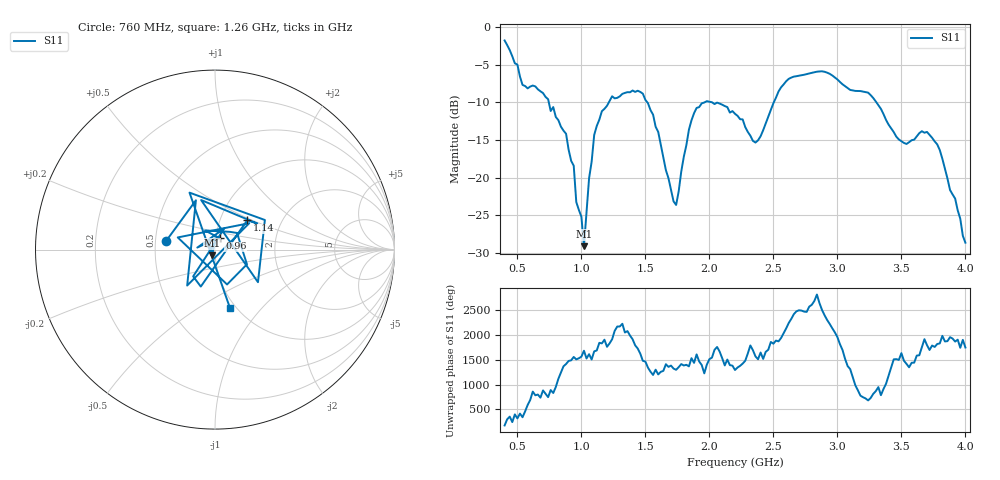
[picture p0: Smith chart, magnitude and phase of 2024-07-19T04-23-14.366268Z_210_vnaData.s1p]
!Created with skrf (http://scikit-rf.org).
# Hz S RI R 50.0
!freq ReS11 ImS11
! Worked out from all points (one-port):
!   181 points, 400 MHz to 4 GHz, reference 50 ohm
!   lowest |S11| = -29.1 dB at 1.02 GHz (marker M1), VSWR 1.07, Z = 48.3 - j3.01 ohm
!   |S11| at or under -10 dB: 745.5 MHz to 1.214 GHz (468.5 MHz wide, 47.8 % of centre); 2.022 GHz to 2.502 GHz (480 MHz wide, 21.2 % of centre); 3.305 GHz to end of sweep (the widest 3 of 4)
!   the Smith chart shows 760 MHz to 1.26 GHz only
!   S11 on the Smith chart (normalised r, x): 760 MHz: 0.57, +0.06; 960 MHz: 1.04, +0.13; 1.14 GHz: 1.35, +0.47; 1.26 GHz: 0.94, -0.69
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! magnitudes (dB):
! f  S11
! 400 MHz  -1.8
! 540 MHz  -7.7
! 760 MHz  -11.1
! 860 MHz  -13.7
! 940 MHz  -18.4
! 960 MHz  -23.2
! 1 GHz  -25.2
! 1.02 GHz  -29.1
! 1.06 GHz  -20.1
! 1.1 GHz  -14.3
! 1.14 GHz  -12.3
! 1.26 GHz  -9.5
! 1.3 GHz  -9.2
! 1.48 GHz  -8.8
! 1.6 GHz  -13.9
! 1.72 GHz  -23.2
! 1.76 GHz  -21.8
! 1.84 GHz  -13.6
! 1.9 GHz  -10.7
! 2.2 GHz  -11.5
! 2.36 GHz  -15.3
! 2.66 GHz  -6.6
! 2.9 GHz  -5.9
! 3.1 GHz  -8.3
! 3.24 GHz  -8.7
! 3.56 GHz  -15.3
! 3.78 GHz  -15.6
! 4 GHz  -28.6
